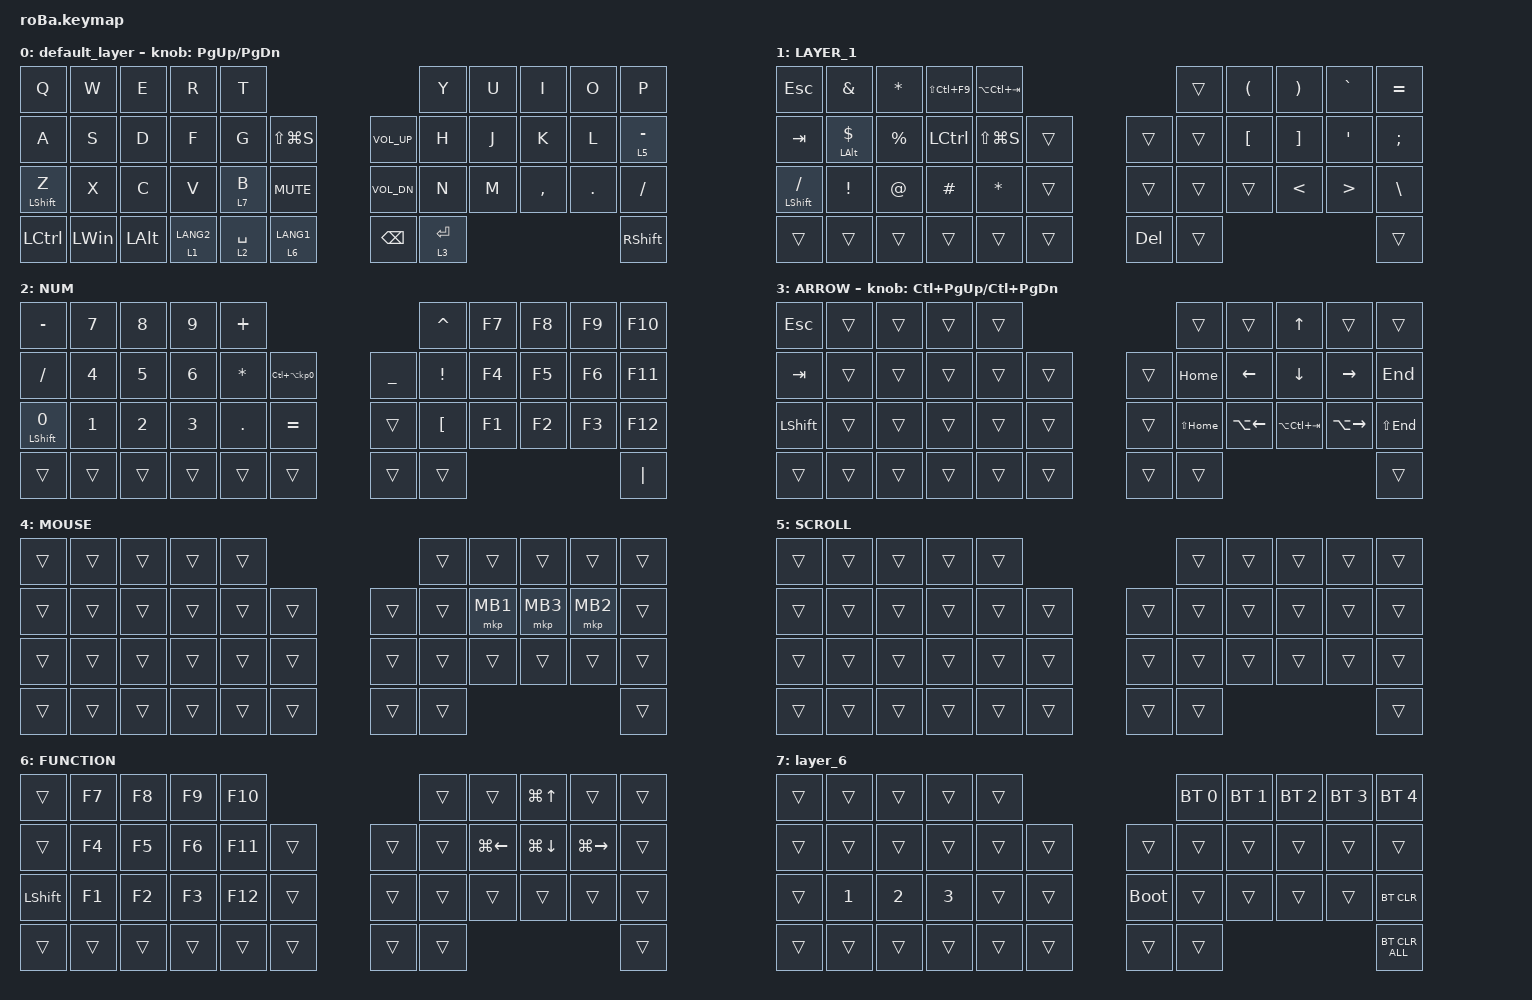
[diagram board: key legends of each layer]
#include <behaviors.dtsi>
#include <dt-bindings/zmk/bt.h>
#include <dt-bindings/zmk/keys.h>
#include <dt-bindings/zmk/pointing.h>

&mt {
    flavor = "balanced";
    quick-tap-ms = <0>;
};

&trackball {
    automouse-layer = <4>;
    scroll-layers = <5>;

    // arrows {
    //     layers = <3>;
    //     bindings =
    //         <&kp RIGHT_ARROW>,
    //         <&kp LEFT_ARROW>,
    //         <&kp UP_ARROW>,
    //         <&kp DOWN_ARROW>;
    //     tick = <10>;
    //     wait-ms = <5>;
    //     tap-ms = <5>;
    // };
};

/ {
    combos {
        compatible = "zmk,combos";

        tab {
            bindings = <&kp TAB>;
            key-positions = <11 12>;
            timeout-ms = <20>;
        };

        shift_tab {
            bindings = <&kp LS(TAB)>;
            key-positions = <12 13>;
            timeout-ms = <20>;
        };

        muhennkann {
            bindings = <&to_layer_0 INT_MUHENKAN>;
            key-positions = <11 10>;
            timeout-ms = <20>;
        };

        double_quotation {
            bindings = <&kp DOUBLE_QUOTES>;
            key-positions = <20 21>;
            timeout-ms = <20>;
        };

        eq {
            bindings = <&kp EQUAL>;
            key-positions = <24 25>;
            timeout-ms = <20>;
        };
    };

    macros {
        to_layer_0: to_layer_0 {
            compatible = "zmk,behavior-macro-one-param";
            #binding-cells = <1>;
            bindings = <&to 0 &macro_param_1to1 &kp MACRO_PLACEHOLDER>;
            label = "TO_LAYER_0";
        };
    };

    behaviors {
        lt_to_layer_0: lt_to_layer_0 {
            compatible = "zmk,behavior-hold-tap";
            label = "LAYER_TAP_TO_0";
            bindings = <&mo>, <&to_layer_0>;

            #binding-cells = <2>;
            tapping-term-ms = <200>;
        };
    };

    keymap {
        compatible = "zmk,keymap";

        default_layer {
            bindings = <
&kp Q             &kp W         &kp E         &kp R                   &kp T                                                                &kp Y        &kp U  &kp I      &kp O    &kp P
&kp A             &kp S         &kp D         &kp F                   &kp G                   &kp LS(LG(S))               &kp C_VOLUME_UP  &kp H        &kp J  &kp K      &kp L    &lt 5 MINUS
&mt LEFT_SHIFT Z  &kp X         &kp C         &kp V                   &lt 7 B                 &kp K_MUTE                  &kp C_VOL_DN     &kp N        &kp M  &kp COMMA  &kp DOT  &kp SLASH
&kp LEFT_CONTROL  &kp LEFT_WIN  &kp LEFT_ALT  &lt_to_layer_0 1 LANG2  &lt_to_layer_0 2 SPACE  &lt_to_layer_0 6 LANG1      &kp BACKSPACE    &lt 3 ENTER                             &kp RIGHT_SHIFT
            >;

            sensor-bindings = <&inc_dec_kp PG_UP PAGE_DOWN>;
        };

        LAYER_1 {
            bindings = <
&kp ESC               &kp AMPS           &kp ASTRK  &kp LS(LC(F9))  &kp LA(LC(TAB))                       &trans  &kp LEFT_PARENTHESIS  &kp RIGHT_PARENTHESIS  &kp GRAVE         &kp EQUAL
&kp TAB               &mt LEFT_ALT DLLR  &kp PRCNT  &kp LCTRL       &kp LS(LG(S))    &trans      &trans   &trans  &kp LEFT_BRACKET      &kp RIGHT_BRACKET      &kp SQT           &kp SEMICOLON
&mt LEFT_SHIFT SLASH  &kp EXCL           &kp AT     &kp HASH        &kp ASTRK        &trans      &trans   &trans  &trans                &kp LESS_THAN          &kp GREATER_THAN  &kp BACKSLASH
&trans                &trans             &trans     &trans          &trans           &trans      &kp DEL  &trans                                                                 &trans
            >;
        };

        NUM {
            bindings = <
&kp MINUS                &kp NUMBER_7  &kp NUMBER_8  &kp NUMBER_9  &kp PLUS                                                   &kp CARET         &kp F7  &kp F8  &kp F9  &kp F10
&kp SLASH                &kp NUMBER_4  &kp NUMBER_5  &kp NUMBER_6  &kp ASTERISK  &kp LC(LA(KP_NUMBER_0))      &kp UNDERSCORE  &kp EXCLAMATION   &kp F4  &kp F5  &kp F6  &kp F11
&mt LEFT_SHIFT NUMBER_0  &kp NUMBER_1  &kp NUMBER_2  &kp NUMBER_3  &kp PERIOD    &kp EQUAL                    &trans          &kp LEFT_BRACKET  &kp F1  &kp F2  &kp F3  &kp F12
&trans                   &trans        &trans        &trans        &trans        &trans                       &trans          &trans                                    &kp PIPE
            >;
        };

        ARROW {
            bindings = <
&kp ESCAPE      &trans  &trans  &trans  &trans                      &trans        &trans              &kp UP_ARROW     &trans               &trans
&kp TAB         &trans  &trans  &trans  &trans  &trans      &trans  &kp HOME      &kp LEFT_ARROW      &kp DOWN_ARROW   &kp RIGHT_ARROW      &kp END
&kp LEFT_SHIFT  &trans  &trans  &trans  &trans  &trans      &trans  &kp LS(HOME)  &kp LA(LEFT_ARROW)  &kp LA(LC(TAB))  &kp LA(RIGHT_ARROW)  &kp LS(END)
&trans          &trans  &trans  &trans  &trans  &trans      &trans  &trans                                                                  &trans
            >;

            sensor-bindings = <&inc_dec_kp LC(PAGE_UP) LC(PAGE_DOWN)>;
        };

        MOUSE {
            bindings = <
&trans  &trans  &trans  &trans  &trans                      &trans  &trans    &trans    &trans    &trans
&trans  &trans  &trans  &trans  &trans  &trans      &trans  &trans  &mkp MB1  &mkp MB3  &mkp MB2  &trans
&trans  &trans  &trans  &trans  &trans  &trans      &trans  &trans  &trans    &trans    &trans    &trans
&trans  &trans  &trans  &trans  &trans  &trans      &trans  &trans                                &trans
            >;
        };

        SCROLL {
            bindings = <
&trans  &trans  &trans  &trans  &trans                      &trans  &trans  &trans  &trans  &trans
&trans  &trans  &trans  &trans  &trans  &trans      &trans  &trans  &trans  &trans  &trans  &trans
&trans  &trans  &trans  &trans  &trans  &trans      &trans  &trans  &trans  &trans  &trans  &trans
&trans  &trans  &trans  &trans  &trans  &trans      &trans  &trans                          &trans
            >;
        };

        FUNCTION {
            bindings = <
&trans          &kp F7  &kp F8  &kp F9  &kp F10                      &trans  &trans              &kp LG(UP_ARROW)    &trans               &trans
&trans          &kp F4  &kp F5  &kp F6  &kp F11  &trans      &trans  &trans  &kp LG(LEFT_ARROW)  &kp LG(DOWN_ARROW)  &kp LG(RIGHT_ARROW)  &trans
&kp LEFT_SHIFT  &kp F1  &kp F2  &kp F3  &kp F12  &trans      &trans  &trans  &trans              &trans              &trans               &trans
&trans          &trans  &trans  &trans  &trans   &trans      &trans  &trans                                                               &trans
            >;
        };

        layer_6 {
            bindings = <
&trans  &trans        &trans        &trans        &trans                           &bt BT_SEL 0  &bt BT_SEL 1  &bt BT_SEL 2  &bt BT_SEL 3  &bt BT_SEL 4
&trans  &trans        &trans        &trans        &trans  &trans      &trans       &trans        &trans        &trans        &trans        &trans
&trans  &kp NUMBER_1  &kp NUMBER_2  &kp NUMBER_3  &trans  &trans      &bootloader  &trans        &trans        &trans        &trans        &bt BT_CLR
&trans  &trans        &trans        &trans        &trans  &trans      &trans       &trans                                                  &bt BT_CLR_ALL
            >;
        };
    };
};
